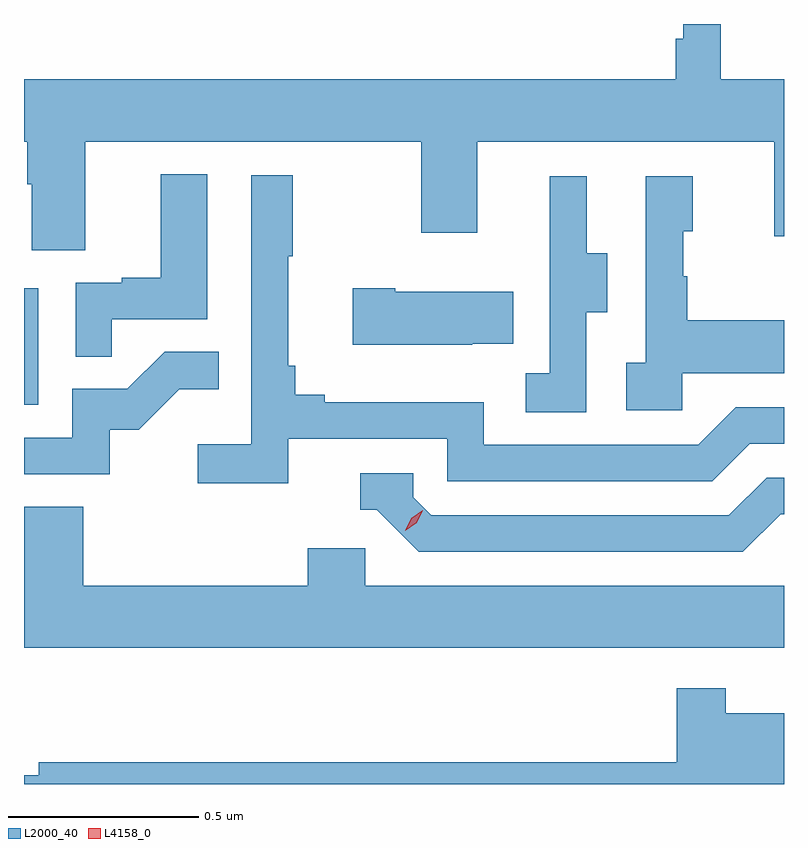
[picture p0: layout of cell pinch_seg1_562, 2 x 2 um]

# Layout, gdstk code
import gdstk
lib = gdstk.Library(unit=1e-6, precision=1e-09)
def R(c, l, rs):  # rectangles x0, y0, x1, y1
    for r in rs: c.add(gdstk.rectangle(r[:2], r[2:], *l))
def P(c, l, *ps):  # polygons
    for p in ps: c.add(gdstk.Polygon(p, *l))
L2000_40 = (2000, 40)
L4158_0 = (4158, 0)

pinch_seg1_562 = lib.new_cell('pinch_seg1_562')
R(pinch_seg1_562, L2000_40, [(1037.462,536.388,1037.5,536.695)])
P(pinch_seg1_562, L2000_40, [(1037.623,537.08),(1038.507,537.08),(1038.507,536.841),(1038.655,536.841),(1038.655,537.08),(1039.436,537.08),(1039.436,536.832),(1039.462,536.832),(1039.462,537.244),(1039.295,537.244),(1039.295,537.39),(1039.197,537.39),(1039.197,537.351),(1039.177,537.351),(1039.177,537.244),(1037.462,537.244),(1037.462,537.08),(1037.471,537.08),(1037.471,536.968),(1037.483,536.968),(1037.483,536.794),(1037.623,536.794)],
  [(1037.693,536.613),(1037.944,536.613),(1037.944,536.995),(1037.822,536.995),(1037.822,536.722),(1037.719,536.722),(1037.719,536.709),(1037.598,536.709),(1037.598,536.515),(1037.693,536.515)],
  [(1038.158,536.298),(1038.576,536.298),(1038.576,536.187),(1039.273,536.187),(1039.372,536.286),(1039.462,536.286),(1039.462,536.382),(1039.335,536.382),(1039.236,536.283),(1038.672,536.283),(1038.672,536.395),(1038.253,536.395),(1038.253,536.414),(1038.176,536.414),(1038.176,536.491),(1038.157,536.491),(1038.157,536.779),(1038.169,536.779),(1038.169,536.992),(1038.06,536.992),(1038.06,536.284),(1037.919,536.284),(1037.919,536.182),(1038.158,536.182)],
  [(1038.942,536.632),(1038.997,536.632),(1038.997,536.787),(1038.943,536.787),(1038.943,536.989),(1038.845,536.989),(1038.845,536.775),(1038.846,536.775),(1038.846,536.471),(1038.783,536.471),(1038.783,536.368),(1038.942,536.368)],
  [(1039.194,536.471),(1039.462,536.471),(1039.462,536.611),(1039.207,536.611),(1039.207,536.726),(1039.197,536.726),(1039.197,536.844),(1039.222,536.844),(1039.222,536.989),(1039.098,536.989),(1039.098,536.498),(1039.047,536.498),(1039.047,536.373),(1039.194,536.373)],
  [(1038.641,536.549),(1038.749,536.549),(1038.749,536.686),(1038.439,536.686),(1038.439,536.694),(1038.327,536.694),(1038.327,536.546),(1038.641,536.546)],
  [(1037.688,536.322),(1037.764,536.322),(1037.871,536.429),(1037.975,536.429),(1037.975,536.528),(1037.832,536.528),(1037.734,536.43),(1037.589,536.43),(1037.589,536.301),(1037.462,536.301),(1037.462,536.205),(1037.688,536.205)],
  [(1039.453,536.1),(1039.462,536.1),(1039.462,536.196),(1039.416,536.196),(1039.317,536.097),(1038.534,536.097),(1038.486,536.145),(1038.486,536.208),(1038.347,536.208),(1038.347,536.112),(1038.39,536.112),(1038.501,536.001),(1039.354,536.001)],
  [(1037.462,536.12),(1037.462,535.748),(1039.462,535.748),(1039.462,535.912),(1038.36,535.912),(1038.36,536.01),(1038.209,536.01),(1038.209,535.912),(1037.618,535.912),(1037.618,536.12)],
  [(1039.462,535.576),(1039.309,535.576),(1039.309,535.642),(1039.18,535.642),(1039.18,535.447),(1037.501,535.447),(1037.501,535.413),(1037.462,535.413),(1037.462,535.39),(1039.462,535.39)])
P(pinch_seg1_562, L4158_0, [(1038.465,536.057),(1038.465,536.057),(1038.481,536.09),(1038.511,536.11),(1038.511,536.11),(1038.511,536.11),(1038.496,536.077),(1038.465,536.057)])

lib.write_gds('pinch_seg1_562.gds')
